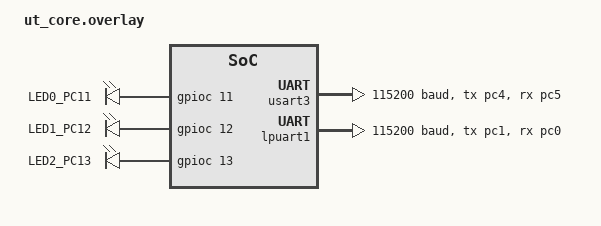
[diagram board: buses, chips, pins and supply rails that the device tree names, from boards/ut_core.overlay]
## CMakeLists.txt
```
# SPDX-License-Identifier: Apache-2.0

cmake_minimum_required(VERSION 3.20.0)
find_package(Zephyr REQUIRED HINTS $ENV{ZEPHYR_BASE})
project(gnss_node)

target_sources(app PRIVATE
    src/main.c
    #gps_test_app.c
    orion_b16/orion_b16_parser.c
    orion_b16/orion_b16_commands.c
    orion_b16/orion_b16_driver.c
    orion_b16/orion_b16_config.c
)

target_include_directories(app PRIVATE
    ${CMAKE_CURRENT_SOURCE_DIR}/orion_b16
    ${CMAKE_CURRENT_SOURCE_DIR}/../../common
)
```

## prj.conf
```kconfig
# --- FLASH ---
CONFIG_FLASH=y
CONFIG_FLASH_MAP=y
CONFIG_MPU_ALLOW_FLASH_WRITE=y

# --- DMA / CACHE ---
CONFIG_DMA=n
CONFIG_SPI_STM32_DMA=n
CONFIG_CACHE_MANAGEMENT=y

# --- PERIPHERALS ---
CONFIG_GPIO=y
CONFIG_SERIAL=y
CONFIG_UART_INTERRUPT_DRIVEN=y
CONFIG_I2C=y
CONFIG_CAN=y
CONFIG_CAN_STM32_FDCAN=y

# --- CONSOLE (UART on USART3) ---
CONFIG_CONSOLE=y
CONFIG_STDOUT_CONSOLE=y
CONFIG_UART_CONSOLE=y

# --- RTT (disabled) ---
CONFIG_USE_SEGGER_RTT=n
CONFIG_RTT_CONSOLE=n

# --- PRINTK / LOGGING ---
CONFIG_PRINTK=y
CONFIG_LOG=y
CONFIG_LOG_BACKEND_RTT=n
CONFIG_LOG_BACKEND_UART=y
CONFIG_LOG_MODE_DEFERRED=y
CONFIG_LOG_BUFFER_SIZE=4096
CONFIG_LOG_PROCESS_THREAD_STARTUP_DELAY_MS=0

# --- Float formatting in LOG/printk ---
CONFIG_CBPRINTF_FP_SUPPORT=y

# --- SEMIHOSTING (disabled) ---
CONFIG_SEMIHOST=n
CONFIG_SEMIHOST_CONSOLE=n

# --- POWER MANAGEMENT (disabled) ---
CONFIG_PM=n
CONFIG_PM_DEVICE=n
CONFIG_PM_DEVICE_RUNTIME=n
CONFIG_TICKLESS_KERNEL=n

# --- Stack ---
CONFIG_MAIN_STACK_SIZE=4096
```

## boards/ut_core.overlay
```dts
#include <zephyr/dt-bindings/gpio/gpio.h>

/ {
	pins {
		compatible = "gpio-leds";

		led0: led_0 {
			gpios = <&gpioc 11 GPIO_ACTIVE_HIGH>;
			label = "LED0_PC11";
		};

		led1: led_1 {
			gpios = <&gpioc 12 GPIO_ACTIVE_HIGH>;
			label = "LED1_PC12";
		};

		led2: led_2 {
			gpios = <&gpioc 13 GPIO_ACTIVE_HIGH>;
			label = "LED2_PC13";
		};
	};

	aliases {
		led0 = &led0;
		led1 = &led1;
		led2 = &led2;
	};

	chosen {
		zephyr,console = &usart3;
	};
};

&pinctrl {
	/* Console UART: USART3 on PC4 (TX) / PC5 (RX) */
	usart3_tx_pc4: usart3_tx_pc4 {
		pinmux = <STM32_PINMUX('C', 4, AF7)>;
	};

	usart3_rx_pc5: usart3_rx_pc5 {
		pinmux = <STM32_PINMUX('C', 5, AF7)>;
	};

	/* GNSS UART: LPUART1 on PC1 (TX) / PC0 (RX) → Orion B16 */
	lpuart1_tx_pc1: lpuart1_tx_pc1 {
		pinmux = <STM32_PINMUX('C', 1, AF8)>;
	};

	lpuart1_rx_pc0: lpuart1_rx_pc0 {
		pinmux = <STM32_PINMUX('C', 0, AF8)>;
	};
};

/* Console to PC */
&usart3 {
	status = "okay";
	current-speed = <115200>;
	pinctrl-0 = <&usart3_tx_pc4 &usart3_rx_pc5>;
	pinctrl-names = "default";
};

/* GNSS receiver (Orion B16) */
&lpuart1 {
	status = "okay";
	current-speed = <115200>;
	pinctrl-0 = <&lpuart1_tx_pc1 &lpuart1_rx_pc0>;
	pinctrl-names = "default";
};
```

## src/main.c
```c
/**
 * @file gps_test_app.c
 * @brief Orion B16 GNSS driver + CAN telemetry for UT-CORE bus.
 */

#include <zephyr/kernel.h>
#include <zephyr/device.h>
#include <zephyr/devicetree.h>
#include <zephyr/drivers/gpio.h>
#include <zephyr/drivers/can.h>
#include <zephyr/logging/log.h>
#include <string.h>

#include "orion_b16_driver.h"
#include "orion_b16_protocol.h"
#include "orion_b16_messages.h"
#include "can_proto.h"

LOG_MODULE_REGISTER(gnss_app, CONFIG_LOG_DEFAULT_LEVEL);

/* ===================================================== */
/* ================= CAN PROTOCOL ====================== */
/* ===================================================== */

#define NODE_ID       GNSS_ID   /* 0x06 */
#define NODE_CDH      CDH_ID    /* 0x01 */

#define PRIO_HIGH  0
#define PRIO_MED   2
#define PRIO_LOW   4

/* GNSS-specific opcodes */
#define OP_GNSS_SOH        0x01   /* periodic state-of-health        */
#define OP_GNSS_POS        0x02   /* position telemetry               */
#define OP_QUERY_POS       0x61   /* CDH requests current position    */
#define OP_SET_UPDATE_RATE 0x62   /* CDH sets GNSS update rate        */

typedef struct {
    uint8_t  priority;
    uint8_t  src;
    uint8_t  dst;
    uint8_t  msg_class;
    uint8_t  dlc;
    uint8_t  data[8];
} can_packet_t;

/* ===================================================== */
/* ================= HW DEVICES ======================== */
/* ===================================================== */

static const struct device *const gpioa  = DEVICE_DT_GET(DT_NODELABEL(gpioa));
static const struct device *const can_dev = DEVICE_DT_GET(DT_NODELABEL(fdcan1));

/* CAN transceiver pins — adjust to your schematic */
#define PIN_SHDN    10
#define PIN_SILENT  9

/* GNSS driver instance */
static orion_driver_t gnss_driver;

/* CAN RX queue */
CAN_MSGQ_DEFINE(rxq, 16);

/* ===================================================== */
/* ================= CAN TX ============================ */
/* ===================================================== */

static void send_simple(uint8_t dst, uint8_t cls, uint8_t op, uint8_t val)
{
    struct can_frame f = {0};
    f.id    = CAN_ID_FULL(PRIO_LOW, NODE_ID, dst, cls);
    f.flags = CAN_FRAME_IDE;
    can_fill_payload(&f, NODE_ID, op, val, 0, 0, 0, 0, 0);
    can_send(can_dev, &f, K_NO_WAIT, NULL, NULL);
}

static void send_heartbeat(void)
{
    send_simple(CAN_BROADCAST, CLS_HEARTBEAT, OP_HEARTBEAT, 0x00);
    LOG_INF("TX heartbeat");
}

/*
 * send_gnss_soh() - State-of-health: fix status + SV count.
 *
 * Payload:
 *   [0] src
 *   [1] OP_GNSS_SOH
 *   [2] fix_mode  (0=none, 2=2D, 3=3D, 4=3D+DGPS)
 *   [3] sv_count
 *   [4] HDOP * 10  (clamped to 255)
 *   [5] PDOP * 10  (clamped to 255)
 *   [6] update_rate_hz
 *   [7] status flags (bit0 = driver running)
 */
static void send_gnss_soh(void)
{
    orion_nav_data_t nav;
    orion_driver_get_nav(&gnss_driver, &nav);

    uint16_t hdop10 = nav.hdop / 10;  /* hdop is *100, we want *10 */
    uint16_t pdop10 = nav.pdop / 10;
    if (hdop10 > 255) hdop10 = 255;
    if (pdop10 > 255) pdop10 = 255;

    uint8_t flags = gnss_driver.running ? 0x01 : 0x00;

    struct can_frame f = {0};
    f.id    = CAN_ID_FULL(PRIO_LOW, NODE_ID, NODE_CDH, CLS_HEALTH);
    f.flags = CAN_FRAME_IDE;
    can_fill_payload(&f, NODE_ID,
        OP_GNSS_SOH,
        nav.fix_mode,
        nav.sv_count,
        (uint8_t)hdop10,
        (uint8_t)pdop10,
        gnss_driver.cfg.update_rate_hz,
        flags
    );
    can_send(can_dev, &f, K_NO_WAIT, NULL, NULL);

    LOG_INF("TX SOH  fix=%u sv=%u hdop=%u pdop=%u",
            nav.fix_mode, nav.sv_count, (unsigned)hdop10, (unsigned)pdop10);
}

/*
 * send_gnss_position() - Position telemetry.
 *
 * Packs lat/lon as scaled int24 for decent resolution in 8 bytes:
 *   [0] src
 *   [1] OP_GNSS_POS
 *   [2..4] latitude  × 1e4, signed 24-bit big-endian  (~11m resolution)
 *   [5..7] longitude × 1e4, signed 24-bit big-endian
 */
static void send_gnss_position(void)
{
    orion_nav_data_t nav;
    orion_driver_get_nav(&gnss_driver, &nav);

    if (!nav.valid) {
        return;  /* don't send garbage */
    }

    /* lat/lon are in 1e-7 degrees; divide by 1000 → 1e-4 degrees */
    int32_t lat_1e4 = nav.latitude_1e7  / 1000;
    int32_t lon_1e4 = nav.longitude_1e7 / 1000;

    struct can_frame f = {0};
    f.id    = CAN_ID_FULL(PRIO_MED, NODE_ID, NODE_CDH, CLS_TELEMETRY);
    f.flags = CAN_FRAME_IDE;
    f.dlc   = 8;
    f.data[0] = NODE_ID;
    f.data[1] = OP_GNSS_POS;
    /* lat: 24-bit big-endian */
    f.data[2] = (lat_1e4 >> 16) & 0xFF;
    f.data[3] = (lat_1e4 >>  8) & 0xFF;
    f.data[4] = (lat_1e4      ) & 0xFF;
    /* lon: 24-bit big-endian */
    f.data[5] = (lon_1e4 >> 16) & 0xFF;
    f.data[6] = (lon_1e4 >>  8) & 0xFF;
    f.data[7] = (lon_1e4      ) & 0xFF;

    can_send(can_dev, &f, K_NO_WAIT, NULL, NULL);

    double lat = ORION_DEG_FROM_1E7(nav.latitude_1e7);
    double lon = ORION_DEG_FROM_1E7(nav.longitude_1e7);
    LOG_INF("TX POS  lat=%.6f lon=%.6f", lat, lon);
}

/* ===================================================== */
/* ================= CAN RX ============================ */
/* ===================================================== */

static void can_decode(const struct can_frame *f, can_packet_t *pkt)
{
    uint32_t id    = f->id;
    pkt->priority  = (id >> 26) & 0x07;
    pkt->src       = (id >> 14) & 0xFF;
    pkt->dst       = (id >>  6) & 0xFF;
    pkt->msg_class =  id        & 0x3F;
    pkt->dlc       = f->dlc;
    memcpy(pkt->data, f->data, f->dlc);
}

static void handle_command(const can_packet_t *pkt)
{
    uint8_t opcode = pkt->data[1];

    switch (opcode) {
    case OP_QUERY_POS:
        /* CDH asked for current position — reply immediately */
        send_gnss_position();
        send_simple(pkt->src, CLS_CMD_RESP, OP_QUERY_POS, 0x01);
        LOG_INF("RX query position from 0x%02X", pkt->src);
        break;

    case OP_SET_UPDATE_RATE: {
        /* data[2] = new rate in Hz */
        uint8_t rate = pkt->data[2];
        int rc = orion_driver_set_update_rate(&gnss_driver, rate);
        uint8_t ack_val = (rc == 1) ? rate : 0x00;
        send_simple(pkt->src, CLS_CMD_RESP, OP_SET_UPDATE_RATE, ack_val);
        LOG_INF("RX set update rate=%u Hz → %s", rate, rc == 1 ? "ACK" : "NACK");
        break;
    }

    default:
        LOG_WRN("Unknown command opcode: 0x%02X", opcode);
        break;
    }
}

static void handle_heartbeat(const can_packet_t *pkt)
{
    LOG_INF("RX heartbeat from 0x%02X", pkt->src);
}

static void can_dispatch(const can_packet_t *pkt)
{
    switch (pkt->msg_class) {
    case CLS_HEARTBEAT: handle_heartbeat(pkt);  break;
    case CLS_COMMAND:   handle_command(pkt);     break;
    default:
        LOG_WRN("Unhandled class: %d from 0x%02X", pkt->msg_class, pkt->src);
        break;
    }
}

/* ===================================================== */
/* ================= CAN SETUP ========================= */
/* ===================================================== */

static void tcan3403_wakeup(void)
{
    gpio_pin_configure(gpioa, PIN_SHDN,   GPIO_OUTPUT_INACTIVE);
    gpio_pin_configure(gpioa, PIN_SILENT,  GPIO_OUTPUT_INACTIVE);
    k_msleep(1);
    LOG_INF("TCAN3403 Awake");
}

static void can_setup(void)
{
    if (!device_is_ready(can_dev)) {
        LOG_ERR("CAN not ready");
        return;
    }

    can_set_bitrate(can_dev, 500000);
    can_set_mode(can_dev, CAN_MODE_NORMAL);
    can_start(can_dev);

    const struct can_filter to_me = {
        .id    = CAN_DST(NODE_ID),
        .mask  = CAN_DST_MASK_29,
        .flags = CAN_FILTER_IDE
    };
    const struct can_filter bcast = {
        .id    = CAN_DST(CAN_BROADCAST),
        .mask  = CAN_DST_MASK_29,
        .flags = CAN_FILTER_IDE
    };

    can_add_rx_filter_msgq(can_dev, &rxq, &to_me);
    can_add_rx_filter_msgq(can_dev, &rxq, &bcast);
    LOG_INF("CAN initialized (29-bit extended)");
}

/* ===================================================== */
/* ================= CAN RX THREAD ===================== */
/* ===================================================== */

#define CAN_RX_STACK_SIZE  1024
#define CAN_RX_PRIORITY    5

static void can_rx_thread(void *a, void *b, void *c)
{
    struct can_frame frame;
    can_packet_t pkt;

    while (1) {
        if (k_msgq_get(&rxq, &frame, K_FOREVER) == 0) {
            can_decode(&frame, &pkt);
            can_dispatch(&pkt);
        }
    }
}

K_THREAD_DEFINE(can_rx_tid, CAN_RX_STACK_SIZE,
    can_rx_thread, NULL, NULL, NULL,
    CAN_RX_PRIORITY, 0, 0);

/* ===================================================== */
/* ============== GNSS NAV CALLBACK ==================== */
/* ===================================================== */

static void on_nav_update(const orion_nav_data_t *nav, void *user)
{
    (void)user;

    if (!nav->valid) {
        LOG_WRN("NAV callback: invalid fix");
        return;
    }

    double lat = ORION_DEG_FROM_1E7(nav->latitude_1e7);
    double lon = ORION_DEG_FROM_1E7(nav->longitude_1e7);
    double alt = ORION_M_FROM_CM(nav->msl_alt_cm);

    const char *fix_str;
    switch (nav->fix_mode) {
        case ORION_FIX_2D:      fix_str = "2D";       break;
        case ORION_FIX_3D:      fix_str = "3D";       break;
        case ORION_FIX_3D_DGPS: fix_str = "3D+DGPS";  break;
        default:                fix_str = "NONE";      break;
    }

    LOG_INF("FIX %s | lat=%.6f lon=%.6f alt=%.2fm | SVs=%u",
            fix_str, lat, lon, alt, nav->sv_count);
}

/* ===================================================== */
/* ================= MAIN ============================== */
/* ===================================================== */

/* Forward declaration for config recipe */
extern int orion_config_cubesat_default(orion_driver_t *drv, uint8_t rate_hz, bool save);

#define HEARTBEAT_INTERVAL_MS   1000
#define SOH_INTERVAL_MS         5000
#define POS_INTERVAL_MS         5000

int main(void)
{
    LOG_INF("=== Orion B16 GNSS + CAN Application ===");

    /* ── GPIO check ── */
    if (!device_is_ready(gpioa)) {
        LOG_ERR("GPIOA not ready");
        return 0;
    }

    /* ── GNSS driver init ── */
    orion_driver_cfg_t cfg = ORION_DRIVER_CFG_DEFAULTS;
    cfg.uart_dev = DEVICE_DT_GET(DT_NODELABEL(lpuart1));

    int rc = orion_driver_init(&gnss_driver, &cfg);
    if (rc != 0) {
        LOG_ERR("GNSS driver init failed: %d", rc);
        return rc;
    }

    orion_driver_register_nav_callback(&gnss_driver, on_nav_update, NULL);

    rc = orion_driver_start(&gnss_driver);
    if (rc != 0) {
        LOG_ERR("GNSS driver start failed: %d", rc);
        return rc;
    }

    orion_config_cubesat_default(&gnss_driver, 1, false);
    LOG_INF("GNSS driver running, waiting for fix...");

    /* ── CAN bus init ── */
    tcan3403_wakeup();
    can_setup();

    LOG_INF("Running — GNSS + CAN active");

    /* ── Main loop ── */
    int64_t last_hb  = k_uptime_get();
    int64_t last_soh = k_uptime_get();
    int64_t last_pos = k_uptime_get();

while (1) {
        int64_t now = k_uptime_get();

        if ((now - last_hb) >= HEARTBEAT_INTERVAL_MS) {
            send_heartbeat();
            last_hb = now;
        }

        if ((now - last_soh) >= SOH_INTERVAL_MS) {
            send_gnss_soh();
            last_soh = now;
        }

        if ((now - last_pos) >= POS_INTERVAL_MS) {
            send_gnss_position();

            /* Print detailed nav + stats on the same 5s cadence */
            orion_nav_data_t nav;
            orion_driver_get_nav(&gnss_driver, &nav);
            if (nav.valid) {
                double lat = ORION_DEG_FROM_1E7(nav.latitude_1e7);
                double lon = ORION_DEG_FROM_1E7(nav.longitude_1e7);
                double alt = ORION_M_FROM_CM(nav.msl_alt_cm);
                LOG_INF("NAV fix=%u sv=%u lat=%.6f lon=%.6f alt=%.2fm",
                        nav.fix_mode, nav.sv_count, lat, lon, alt);
            } else {
                LOG_INF("No valid fix yet.");
            }

            uint32_t rx_b, tx_b, nav_cnt, f_ok, f_err;
            orion_driver_get_stats(&gnss_driver, &rx_b, &tx_b, &nav_cnt, &f_ok, &f_err);
            LOG_INF("Stats: RX=%u TX=%u nav=%u ok=%u err=%u",
                    rx_b, tx_b, nav_cnt, f_ok, f_err);

            last_pos = now;
        }

        k_msleep(100);
    }

    return 0;
}
```
